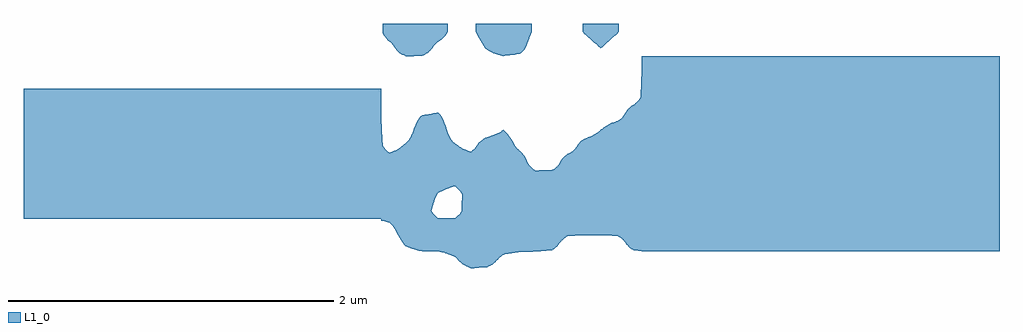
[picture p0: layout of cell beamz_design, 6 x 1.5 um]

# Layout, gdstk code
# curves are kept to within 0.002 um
import gdstk
lib = gdstk.Library(unit=1e-6, precision=1e-09)
def R(c, l, rs):  # rectangles x0, y0, x1, y1
    for r in rs: c.add(gdstk.rectangle(r[:2], r[2:], *l))
def P(c, l, *ps):  # polygons
    for p in ps: c.add(gdstk.Polygon(p, *l))
L1_0 = (1, 0)

beamz_design = lib.new_cell('beamz_design')
R(beamz_design, L1_0, [(4,1.4,6,2.6), (0,1.6,2,2.4)])
P(beamz_design, L1_0, [(2.75,1.297),(2.7,1.323),(2.65,1.367),(2.6,1.388),(2.55,1.401),(2.45,1.402),(2.38,1.42),(2.35,1.433),(2.333,1.45),(2.27,1.558),(2.25,1.576),(2.2,1.59),(2.2,1.6),(2,1.6),(2,1.802),(2.65,1.802),(2.614,1.79),(2.569,1.77),(2.551,1.76),(2.541,1.75),(2.521,1.7),(2.508,1.65),(2.53,1.62),(2.55,1.604),(2.65,1.604),(2.659,1.61),(2.681,1.63),(2.694,1.65),(2.696,1.72),(2.696,1.75),(2.69,1.762),(2.67,1.787),(2.65,1.802),(2,1.802),(2,2.4),(2.2,2.4),(2.201,2.14),(2.209,2.05),(2.223,2.03),(2.25,2.007),(2.28,2.018),(2.302,2.03),(2.36,2.075),(2.384,2.11),(2.42,2.2),(2.433,2.22),(2.45,2.237),(2.55,2.254),(2.569,2.23),(2.58,2.21),(2.61,2.124),(2.63,2.087),(2.65,2.065),(2.7,2.033),(2.75,2.014),(2.77,2.029),(2.8,2.067),(2.826,2.09),(2.85,2.103),(2.91,2.124),(2.95,2.148),(2.99,2.102),(3.028,2.04),(3.06,2.01),(3.08,1.986),(3.097,1.95),(3.12,1.918),(3.15,1.897),(3.24,1.9),(3.26,1.906),(3.278,1.92),(3.32,1.979),(3.34,1.996),(3.38,2.02),(3.419,2.07),(3.44,2.088),(3.512,2.12),(3.542,2.14),(3.578,2.17),(3.6,2.183),(3.65,2.202),(3.67,2.214),(3.694,2.24),(3.72,2.279),(3.77,2.317),(3.78,2.328),(3.794,2.35),(3.795,2.36),(3.8,2.48),(3.8,2.6),(4,2.6),(4,1.4),(3.8,1.4),(3.8,1.404),(3.75,1.408),(3.72,1.43),(3.688,1.47),(3.65,1.496),(3.56,1.501),(3.44,1.501),(3.35,1.496),(3.32,1.478),(3.278,1.43),(3.25,1.409),(3.151,1.4),(3.05,1.398),(2.96,1.382),(2.94,1.373),(2.894,1.33),(2.86,1.308),(2.85,1.304)],
  [(2.35,2.601),(2.329,2.61),(2.302,2.63),(2.27,2.672),(2.23,2.71),(2.216,2.73),(2.207,2.75),(2.207,2.8),(2.607,2.8),(2.607,2.75),(2.595,2.73),(2.577,2.71),(2.537,2.68),(2.5,2.635),(2.483,2.62),(2.45,2.602)],
  [(2.95,2.601),(2.91,2.612),(2.88,2.624),(2.85,2.64),(2.84,2.65),(2.807,2.7),(2.781,2.75),(2.781,2.8),(3.124,2.8),(3.124,2.75),(3.085,2.65),(3.078,2.64),(3.05,2.616)],
  [(3.55,2.649),(3.45,2.737),(3.439,2.75),(3.439,2.8),(3.66,2.8),(3.66,2.75)])

lib.write_gds('beamz_design.gds')
